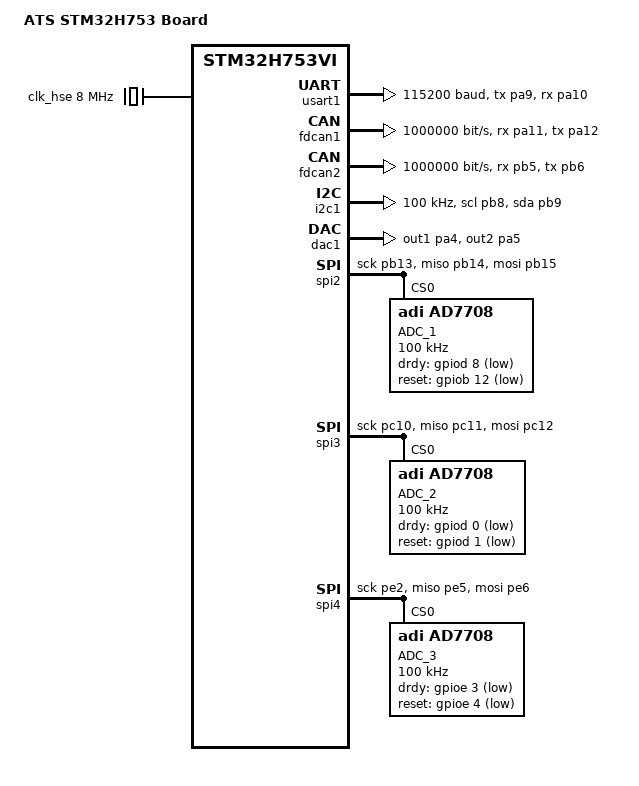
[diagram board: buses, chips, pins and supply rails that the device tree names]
/*
 * Created by Luke Tighe 4/9/26
 * SPDX-License-Identifier: Apache-2.0
 */

/dts-v1/;
/* Base STM32H753 SoC description. */
#include <st/h7/stm32h753Xi.dtsi>
/* STM32H753 pinmux labels used by pinctrl-0 entries below. */
#include <st/h7/stm32h753vitx-pinctrl.dtsi>
/* STM32 pinmux helper macros used for custom SPI4 pin definitions below. */
#include <zephyr/dt-bindings/pinctrl/stm32-pinctrl.h>

/ {
	/* Human-readable board identification shown in generated metadata. */
	model = "ATS STM32H753 Board";
	/* Board-specific compatible, followed by the STM32H753VI SoC family. */
	compatible = "vnd,ats-stm32", "st,stm32h753vi";

	/* Default system resources Zephyr should bind to at boot. */
	chosen {
		/* UART used for printk/logging output. */
		zephyr,console = &usart1;
		/* UART used by the Zephyr shell, if enabled. */
		zephyr,shell-uart = &usart1;
		/* Main SRAM region used for runtime allocations and data. */
		zephyr,sram = &sram0;
		/* On-chip flash used for the application image. */
		zephyr,flash = &flash0;
		/* Default CAN controller for application code and samples. */
		zephyr,canbus = &fdcan1;
	};

	/*
	 * Convenience aliases for the three external SPI ADCs and the hall-effect
	 * interrupt line.
	 * Assumption: no separate CS pin was provided, so each ADC is the only
	 * device on its SPI bus and chip select is handled externally in hardware.
	 */
	aliases {
		adc-spi1 = &ADC_1;
		adc-spi2 = &ADC_2;
		adc-spi3 = &ADC_3;
		adc1-disable = &adc1_disable;
		adc2-disable = &adc2_disable;
		adc3-disable = &adc3_disable;
		i2c-irq = &HallEffect_1;
	};

	/* Named board-level GPIO resources that application code can look up. */
	board_signals {
		/*
		 * ADC disable lines are active high.
		 * External pull-ups on the board keep the ADCs disabled until firmware
		 * actively drives these lines low.
		 */
		adc1_disable: adc1-disable {
			gpios = <&gpiod 2 GPIO_ACTIVE_HIGH>;
			label = "ADC1 Disable";
		};

		adc2_disable: adc2-disable {
			gpios = <&gpiod 4 GPIO_ACTIVE_HIGH>;
			label = "ADC2 Disable";
		};

		adc3_disable: adc3-disable {
			gpios = <&gpioc 13 GPIO_ACTIVE_HIGH>;
			label = "ADC3 Disable";
		};

		/* Hall-effect sensor interrupt line on PE1. */
		HallEffect_1: hall-effect-1 {
			gpios = <&gpioe 1 GPIO_ACTIVE_LOW>;
			label = "Hall Effect 1";
		};
	};
};

/* External high-speed clock source feeding the PLLs. */
&clk_hse {
	clock-frequency = <DT_FREQ_M(8)>;
	status = "okay";
};

/* Main PLL generates the 480 MHz system clock tree. */
&pll {
	div-m = <2>;
	mul-n = <240>;
	div-p = <2>;
	div-q = <2>;
	div-r = <2>;
	clocks = <&clk_hse>;
	status = "okay";
};

/* Secondary PLL is used here to generate the FDCAN kernel clock. */
&pll2 {
	div-m = <4>;
	mul-n = <120>;
	div-p = <2>;
	div-q = <3>;
	div-r = <2>;
	clocks = <&clk_hse>;
	status = "okay";
};

/* RCC selects the system clock source and bus prescalers. */
&rcc {
	clocks = <&pll>;
	clock-frequency = <DT_FREQ_M(480)>;
	d1cpre = <1>;
	hpre = <2>;
	d1ppre = <2>;
	d2ppre1 = <2>;
	d2ppre2 = <2>;
	d3ppre = <2>;
};

/* STM32H7 power configuration. "ldo" matches a typical direct LDO setup. */
&pwr {
	power-supply = "ldo";
};

/* Enable GPIO controller blocks so pins can be configured from application code. */
&gpioa { status = "okay"; };
&gpiob { status = "okay"; };
&gpioc { status = "okay"; };
&gpiod { status = "okay"; };
&gpioe { status = "okay"; };

/* Primary debug/logging UART routed to PA9/PA10. */
&usart1 {
	pinctrl-0 = <&usart1_tx_pa9 &usart1_rx_pa10>;
	pinctrl-names = "default";
	current-speed = <115200>;
	status = "okay";
};

/* CAN1 */
&fdcan1 {
	clocks = <&rcc STM32_CLOCK(APB1_2, 8)>,
		 <&rcc STM32_SRC_PLL2_Q FDCAN_SEL(2)>;
	pinctrl-0 = <&fdcan1_rx_pa11 &fdcan1_tx_pa12>;
	pinctrl-names = "default";
	/* 1 Mbit/s nominal bitrate with an 87.5% sample point. */
	bitrate = <1000000>;
	sample-point = <875>;
	status = "okay";
};

/* CAN2 */
&fdcan2 {
	clocks = <&rcc STM32_CLOCK(APB1_2, 9)>,
		 <&rcc STM32_SRC_PLL2_Q FDCAN_SEL(2)>;
	pinctrl-0 = <&fdcan2_rx_pb5 &fdcan2_tx_pb6>;
	pinctrl-names = "default";
	bitrate = <1000000>;
	sample-point = <875>;
	status = "okay";
};

/* I2C1 routed to PB8/PB9 for external peripherals. */
&i2c1 {
	pinctrl-0 = <&i2c1_scl_pb8 &i2c1_sda_pb9>;
	pinctrl-names = "default";
	status = "okay";
	clock-frequency = <I2C_BITRATE_STANDARD>;
};

/*
 * DAC1 exposes two analog outputs on PA4 and PA5.
 * These pins are dedicated DAC outputs in the current firmware.
 */
&dac1 {
	pinctrl-0 = <&dac1_out1_pa4 &dac1_out2_pa5>;
	pinctrl-names = "default";
	status = "okay";
};

/* ADC1 SPI bus: PB15 MOSI, PB14 MISO, PB13 SCK. */
&spi2 {
	pinctrl-0 = <&spi2_sck_pb13 &spi2_miso_pb14 &spi2_mosi_pb15>;
	pinctrl-names = "default";
	status = "okay";

	/* AD7708 #1 control signals: PD8 DRDY, PB12 reset. */
	ADC_1: adc@0 {
		compatible = "adi,ad7708";
		reg = <0>;
		spi-max-frequency = <100000>;
		drdy-gpios = <&gpiod 8 GPIO_ACTIVE_LOW>;
		reset-gpios = <&gpiob 12 GPIO_ACTIVE_LOW>;
		status = "okay";
	};
};

/* ADC2 SPI bus: PC12 MOSI, PC11 MISO, PC10 SCK. */
&spi3 {
	pinctrl-0 = <&spi3_sck_pc10 &spi3_miso_pc11 &spi3_mosi_pc12>;
	pinctrl-names = "default";
	status = "okay";

	/* AD7708 #2 control signals: PD0 DRDY, PD1 reset. */
	ADC_2: adc@0 {
		compatible = "adi,ad7708";
		reg = <0>;
		spi-max-frequency = <100000>;
		drdy-gpios = <&gpiod 0 GPIO_ACTIVE_LOW>;
		reset-gpios = <&gpiod 1 GPIO_ACTIVE_LOW>;
		status = "okay";
	};
};

/* ADC3 SPI bus: PE6 MOSI, PE5 MISO, PE2 SCK. */
&spi4 {
	pinctrl-0 = <&spi4_sck_pe2 &spi4_miso_pe5 &spi4_mosi_pe6>;
	pinctrl-names = "default";
	status = "okay";

	/* AD7708 #3 control signals: PE3 DRDY, PE4 reset. */
	ADC_3: adc@0 {
		compatible = "adi,ad7708";
		reg = <0>;
		spi-max-frequency = <100000>;
		drdy-gpios = <&gpioe 3 GPIO_ACTIVE_LOW>;
		reset-gpios = <&gpioe 4 GPIO_ACTIVE_LOW>;
		status = "okay";
	};
};

/* Custom pinctrl entries for SPI4 on GPIOE, since these pins are board-specific. */
&pinctrl {
	spi4_sck_pe2: spi4_sck_pe2 {
		pinmux = <STM32_PINMUX('E', 2, AF5)>;
	};

	spi4_miso_pe5: spi4_miso_pe5 {
		pinmux = <STM32_PINMUX('E', 5, AF5)>;
	};

	spi4_mosi_pe6: spi4_mosi_pe6 {
		pinmux = <STM32_PINMUX('E', 6, AF5)>;
	};
};
